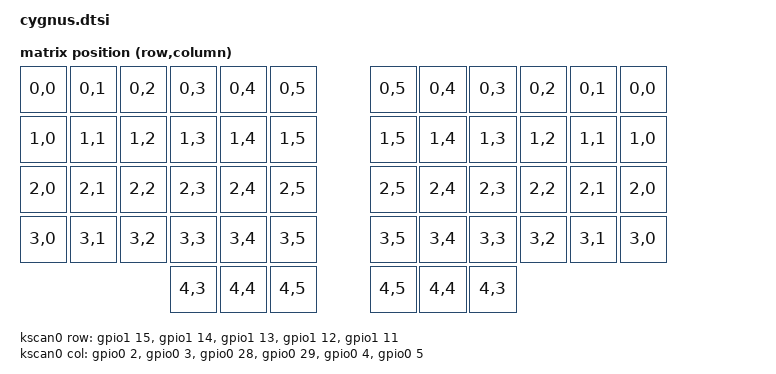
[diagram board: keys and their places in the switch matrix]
#include <dt-bindings/zmk/matrix_transform.h>

/ {
    chosen {
        zmk,matrix-transform = &default_transform;
        zmk,kscan = &kscan0;
    };

    default_transform: keymap_transform_0 {
        compatible = "zmk,matrix-transform";
        columns = <6>;
        rows = <5>;

        map = <
            RC(0,0) RC(0,1) RC(0,2) RC(0,3) RC(0,4) RC(0,5)    RC(0,5) RC(0,4) RC(0,3) RC(0,2) RC(0,1) RC(0,0)
            RC(1,0) RC(1,1) RC(1,2) RC(1,3) RC(1,4) RC(1,5)    RC(1,5) RC(1,4) RC(1,3) RC(1,2) RC(1,1) RC(1,0)
            RC(2,0) RC(2,1) RC(2,2) RC(2,3) RC(2,4) RC(2,5)    RC(2,5) RC(2,4) RC(2,3) RC(2,2) RC(2,1) RC(2,0)
            RC(3,0) RC(3,1) RC(3,2) RC(3,3) RC(3,4) RC(3,5)    RC(3,5) RC(3,4) RC(3,3) RC(3,2) RC(3,1) RC(3,0)
                            RC(4,3) RC(4,4) RC(4,5)            RC(4,5) RC(4,4) RC(4,3)
        >;
    };

    kscan0: kscan {
        compatible = "zmk,kscan-gpio-matrix";
        wakeup-source;
        diode-direction = "col2row";

        // 【行】イラストの 7〜11番（ご指摘通り、D10からD6へ上から順に接続）
        row-gpios
            = <&gpio1 15 (GPIO_ACTIVE_HIGH | GPIO_PULL_DOWN)> // 7番ピン (XIAO D10) ➔Row0
            , <&gpio1 14 (GPIO_ACTIVE_HIGH | GPIO_PULL_DOWN)> // 8番ピン (XIAO D9)  ➔Row1
            , <&gpio1 13 (GPIO_ACTIVE_HIGH | GPIO_PULL_DOWN)> // 9番ピン (XIAO D8)  ➔Row2
            , <&gpio1 12 (GPIO_ACTIVE_HIGH | GPIO_PULL_DOWN)> // 10番ピン(XIAO D7)  ➔Row3
            , <&gpio1 11 (GPIO_ACTIVE_HIGH | GPIO_PULL_DOWN)> // 11番ピン(XIAO D6)  ➔Row4 (親指)
            ;

        // 【列】イラストの 1〜6番（XIAOの右側ピンを上から順番に：A0〜A5）
        col-gpios
            = <&gpio0 2  GPIO_ACTIVE_HIGH> // 1番ピン (XIAO A0) ➔Col0
            , <&gpio0 3  GPIO_ACTIVE_HIGH> // 2番ピン (XIAO A1) ➔Col1
            , <&gpio0 28 GPIO_ACTIVE_HIGH> // 3番ピン (XIAO A2) ➔Col2
            , <&gpio0 29 GPIO_ACTIVE_HIGH> // 4番ピン (XIAO A3) ➔Col3
            , <&gpio0 4  GPIO_ACTIVE_HIGH> // 5番ピン (XIAO A4) ➔Col4
            , <&gpio0 5  GPIO_ACTIVE_HIGH> // 6番ピン (XIAO A5) ➔Col5
            ;
    };
};
